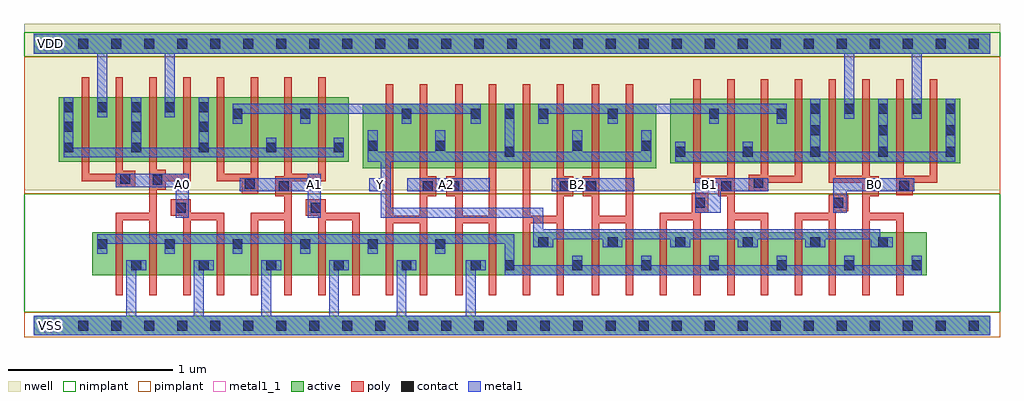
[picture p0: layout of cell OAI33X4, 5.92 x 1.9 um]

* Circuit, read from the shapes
.subckt OAI33X4 A0 A1 A2 B0 B1 B2 VDD VSS Y
M1 VSS A0 n1 VSS nfet w=0.26u l=0.045u m=4
M2 VSS A1 n1 VSS nfet w=0.26u l=0.045u m=4
M3 VSS A2 n1 VSS nfet w=0.26u l=0.045u m=4
M4 Y B2 n1 VSS nfet w=0.26u l=0.045u m=4
M5 Y B1 n1 VSS nfet w=0.26u l=0.045u m=4
M6 Y B0 n1 VSS nfet w=0.26u l=0.045u m=4
M7 VDD A0 n2 VDD pfet w=0.39u l=0.045u m=4
M8 n3 A1 n2 VDD pfet w=0.39u l=0.045u m=4
M9 n3 A2 Y VDD pfet w=0.39u l=0.045u m=4
M10 n4 B2 Y VDD pfet w=0.39u l=0.045u m=4
M11 n4 B1 n5 VDD pfet w=0.39u l=0.045u m=4
M12 VDD B0 n5 VDD pfet w=0.39u l=0.045u m=4
.ends

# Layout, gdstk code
import gdstk
lib = gdstk.Library(unit=1e-6, precision=5e-10)
def R(c, l, rs):  # rectangles x0, y0, x1, y1
    for r in rs: c.add(gdstk.rectangle(r[:2], r[2:], *l))
def A(c, l, x, y, w, h, nx, ny, dx, dy):  # array of equal rectangles
    R(c, l, [(x+i*dx, y+j*dy, x+i*dx+w, y+j*dy+h) for i in range(nx) for j in range(ny)])
def P(c, l, *ps):  # polygons
    for p in ps: c.add(gdstk.Polygon(p, *l))
active = (1, 0)
nwell = (2, 0)
poly = (3, 0)
nimplant = (4, 0)
pimplant = (5, 0)
contact = (6, 0)
metal1 = (7, 0)
metal1_1 = (7, 1)

oai33x4 = lib.new_cell('OAI33X4')
R(oai33x4, active, [(0,-0.06,5.8,0.06), (0.355,0.305,5.415,0.565), (1.995,0.955,3.775,1.345), (3.86,0.985,5.62,1.375), (0.15,0.995,1.91,1.385), (0,1.65,5.8,1.77)])
R(oai33x4, nwell, [(-0.06,0.82,5.86,1.83)])
P(oai33x4, poly, [(0.29,1.505),(0.335,1.505),(0.335,0.92),(0.495,0.92),(0.495,1.505),(0.54,1.505),(0.54,0.94),(0.615,0.94),(0.615,0.84),(0.495,0.84),(0.495,0.875),(0.29,0.875)],
  [(0.7,1.505),(0.745,1.505),(0.745,0.945),(0.8,0.945),(0.8,0.92),(0.905,0.92),(0.905,1.505),(0.95,1.505),(0.95,0.875),(0.8,0.875),(0.8,0.825),(0.745,0.825),(0.745,0.185),(0.7,0.185),(0.7,0.64),(0.54,0.64),(0.54,0.185),(0.495,0.185),(0.495,0.685),(0.7,0.685)],
  [(1.11,1.505),(1.155,1.505),(1.155,0.92),(1.315,0.92),(1.315,1.505),(1.36,1.505),(1.36,0.8),(1.26,0.8),(1.26,0.875),(1.11,0.875)],
  [(1.52,1.505),(1.565,1.505),(1.565,0.92),(1.725,0.92),(1.725,1.505),(1.77,1.505),(1.77,0.875),(1.565,0.875),(1.565,0.185),(1.52,0.185),(1.52,0.64),(1.36,0.64),(1.36,0.185),(1.315,0.185),(1.315,0.685),(1.52,0.685),(1.52,0.785),(1.465,0.785),(1.465,0.905),(1.52,0.905)],
  [(2.135,1.465),(2.18,1.465),(2.18,0.665),(2.34,0.665),(2.34,1.465),(2.385,1.465),(2.385,0.905),(2.44,0.905),(2.44,0.785),(2.385,0.785),(2.385,0.185),(2.34,0.185),(2.34,0.62),(2.18,0.62),(2.18,0.185),(2.135,0.185)],
  [(2.555,1.465),(2.6,1.465),(2.6,0.665),(2.76,0.665),(2.76,1.465),(2.805,1.465),(2.805,0.185),(2.76,0.185),(2.76,0.62),(2.6,0.62),(2.6,0.185),(2.555,0.185),(2.555,0.785),(2.5,0.785),(2.5,0.905),(2.555,0.905)],
  [(2.965,1.465),(3.01,1.465),(3.01,0.665),(3.17,0.665),(3.17,1.465),(3.215,1.465),(3.215,0.905),(3.27,0.905),(3.27,0.785),(3.215,0.785),(3.215,0.185),(3.17,0.185),(3.17,0.62),(3.01,0.62),(3.01,0.185),(2.965,0.185)],
  [(3.385,1.465),(3.43,1.465),(3.43,0.665),(3.59,0.665),(3.59,1.465),(3.635,1.465),(3.635,0.185),(3.59,0.185),(3.59,0.62),(3.43,0.62),(3.43,0.185),(3.385,0.185),(3.385,0.785),(3.33,0.785),(3.33,0.905),(3.385,0.905)],
  [(4,1.495),(4.045,1.495),(4.045,0.91),(4.205,0.91),(4.205,1.495),(4.25,1.495),(4.25,0.685),(4.455,0.685),(4.455,0.185),(4.41,0.185),(4.41,0.64),(4.25,0.64),(4.25,0.185),(4.205,0.185),(4.205,0.785),(4.15,0.785),(4.15,0.865),(4,0.865)],
  [(4.41,1.495),(4.455,1.495),(4.455,0.91),(4.615,0.91),(4.615,1.495),(4.66,1.495),(4.66,0.865),(4.455,0.865),(4.455,0.815),(4.335,0.815),(4.335,0.915),(4.41,0.915)],
  [(4.82,1.495),(4.865,1.495),(4.865,0.91),(5.025,0.91),(5.025,1.495),(5.07,1.495),(5.07,0.905),(5.125,0.905),(5.125,0.785),(5.07,0.785),(5.07,0.685),(5.275,0.685),(5.275,0.185),(5.23,0.185),(5.23,0.64),(5.07,0.64),(5.07,0.185),(5.025,0.185),(5.025,0.865),(4.82,0.865)],
  [(5.23,1.495),(5.275,1.495),(5.275,0.91),(5.435,0.91),(5.435,1.495),(5.48,1.495),(5.48,0.865),(5.33,0.865),(5.33,0.79),(5.23,0.79)],
  [(3.99,0.805),(4.09,0.805),(4.09,0.685),(4.045,0.685),(4.045,0.185),(4,0.185),(4,0.64),(3.84,0.64),(3.84,0.185),(3.795,0.185),(3.795,0.685),(3.99,0.685)],
  [(4.82,0.795),(4.94,0.795),(4.94,0.695),(4.865,0.695),(4.865,0.185),(4.82,0.185),(4.82,0.64),(4.66,0.64),(4.66,0.185),(4.615,0.185),(4.615,0.685),(4.82,0.685)],
  [(0.83,0.765),(0.95,0.765),(0.95,0.685),(1.155,0.685),(1.155,0.185),(1.11,0.185),(1.11,0.64),(0.95,0.64),(0.95,0.185),(0.905,0.185),(0.905,0.665),(0.83,0.665)],
  [(1.65,0.765),(1.77,0.765),(1.77,0.685),(1.975,0.685),(1.975,0.185),(1.93,0.185),(1.93,0.64),(1.77,0.64),(1.77,0.185),(1.725,0.185),(1.725,0.665),(1.65,0.665)])
R(oai33x4, nimplant, [(-0.06,0.08,5.86,0.8), (-0.06,1.63,5.86,1.78)])
R(oai33x4, pimplant, [(-0.06,-0.07,5.86,0.08), (-0.06,0.8,5.86,1.63)])
A(oai33x4, contact, 0.07, -0.03, 0.06, 0.06, 29, 2, 0.2, 1.71)
A(oai33x4, contact, 0.59, 0.335, 0.06, 0.06, 5, 1, 0.41, 0)
A(oai33x4, contact, 3.685, 0.335, 0.06, 0.06, 5, 1, 0.41, 0)
A(oai33x4, contact, 0.385, 0.465, 0.06, 0.06, 6, 1, 0.41, 0)
A(oai33x4, contact, 3.48, 0.475, 0.06, 0.06, 5, 1, 0.41, 0)
A(oai33x4, contact, 3.89, 1.025, 0.06, 0.06, 5, 1, 0.41, 0)
A(oai33x4, contact, 0.18, 1.05, 0.06, 0.06, 5, 1, 0.41, 0)
A(oai33x4, contact, 4.71, 1.155, 0.06, 0.06, 3, 1, 0.41, 0)
A(oai33x4, contact, 0.18, 1.175, 0.06, 0.06, 3, 1, 0.41, 0)
A(oai33x4, contact, 2.65, 1.255, 0.06, 0.06, 3, 1, 0.205, 0)
A(oai33x4, contact, 4.71, 1.285, 0.06, 0.06, 5, 1, 0.205, 0)
A(oai33x4, contact, 0.18, 1.295, 0.06, 0.06, 5, 1, 0.205, 0)
R(oai33x4, contact, [(2.65,0.335,2.71,0.395), (2.855,0.335,2.915,0.395), (3.265,0.335,3.325,0.395), (3.06,0.475,3.12,0.535), (0.86,0.685,0.92,0.745), (1.68,0.685,1.74,0.745), (4.01,0.715,4.07,0.775), (4.85,0.715,4.91,0.775), (1.485,0.815,1.545,0.875), (2.36,0.815,2.42,0.875), (2.52,0.815,2.58,0.875), (3.19,0.815,3.25,0.875), (3.35,0.815,3.41,0.875), (4.17,0.815,4.23,0.875), (5.045,0.815,5.105,0.875), (5.25,0.82,5.31,0.88), (1.28,0.83,1.34,0.89), (4.365,0.835,4.425,0.895), (0.72,0.855,0.78,0.915), (0.525,0.86,0.585,0.92), (2.855,1.025,2.915,1.085), (2.025,1.06,2.085,1.12), (2.435,1.06,2.495,1.12), (3.265,1.06,3.325,1.12), (3.685,1.06,3.745,1.12), (1.205,1.255,1.265,1.315), (1.615,1.255,1.675,1.315), (2.23,1.255,2.29,1.315), (3.48,1.255,3.54,1.315), (4.095,1.255,4.155,1.315), (4.505,1.255,4.565,1.315)])
R(oai33x4, metal1, [(2.265,0.815,2.765,0.895), (3.14,0.815,3.64,0.895)])
P(oai33x4, metal1, [(0,1.77),(5.8,1.77),(5.8,1.65),(5.385,1.65),(5.385,1.255),(5.325,1.255),(5.325,1.65),(4.975,1.65),(4.975,1.255),(4.915,1.255),(4.915,1.65),(0.855,1.65),(0.855,1.265),(0.795,1.265),(0.795,1.65),(0.445,1.65),(0.445,1.265),(0.385,1.265),(0.385,1.65),(0,1.65)],
  [(0.18,1.385),(0.24,1.385),(0.24,1.08),(0.59,1.08),(0.59,1.385),(0.65,1.385),(0.65,1.08),(1,1.08),(1,1.385),(1.06,1.385),(1.06,1.08),(1.41,1.08),(1.41,1.14),(1.47,1.14),(1.47,1.08),(1.82,1.08),(1.82,1.14),(1.88,1.14),(1.88,1.02),(0.18,1.02)],
  [(1.205,1.345),(2.71,1.345),(2.71,1.225),(2.65,1.225),(2.65,1.285),(2.29,1.285),(2.29,1.225),(2.23,1.225),(2.23,1.285),(1.675,1.285),(1.675,1.225),(1.615,1.225),(1.615,1.285),(1.265,1.285),(1.265,1.225),(1.205,1.225)],
  [(2.025,1.185),(2.085,1.185),(2.085,1.055),(2.435,1.055),(2.435,1.185),(2.495,1.185),(2.495,1.055),(2.855,1.055),(2.855,1.345),(2.915,1.345),(2.915,1.055),(3.265,1.055),(3.265,1.185),(3.325,1.185),(3.325,1.055),(3.685,1.055),(3.685,1.185),(3.745,1.185),(3.745,0.995),(2.165,0.995),(2.165,0.715),(3.09,0.715),(3.09,0.585),(5.135,0.585),(5.135,0.535),(5.21,0.535),(5.21,0.475),(5.075,0.475),(5.075,0.525),(4.8,0.525),(4.8,0.475),(4.68,0.475),(4.68,0.525),(4.39,0.525),(4.39,0.475),(4.27,0.475),(4.27,0.525),(3.98,0.525),(3.98,0.475),(3.86,0.475),(3.86,0.525),(3.57,0.525),(3.57,0.475),(3.45,0.475),(3.45,0.525),(3.15,0.525),(3.15,0.475),(3.03,0.475),(3.03,0.655),(2.105,0.655),(2.105,0.815),(2.035,0.815),(2.035,0.895),(2.105,0.895),(2.105,0.995),(2.025,0.995)],
  [(3.06,1.345),(4.565,1.345),(4.565,1.225),(4.505,1.225),(4.505,1.285),(4.155,1.285),(4.155,1.225),(4.095,1.225),(4.095,1.285),(3.54,1.285),(3.54,1.225),(3.48,1.225),(3.48,1.285),(3.12,1.285),(3.12,1.225),(3.06,1.225)],
  [(3.89,1.115),(3.95,1.115),(3.95,1.055),(4.3,1.055),(4.3,1.115),(4.36,1.115),(4.36,1.055),(4.71,1.055),(4.71,1.375),(4.77,1.375),(4.77,1.055),(5.12,1.055),(5.12,1.375),(5.18,1.375),(5.18,1.055),(5.53,1.055),(5.53,1.375),(5.59,1.375),(5.59,0.995),(3.89,0.995)],
  [(0.495,0.92),(0.94,0.92),(0.94,0.655),(0.86,0.655),(0.86,0.84),(0.495,0.84)],
  [(1.66,0.92),(1.74,0.92),(1.74,0.655),(1.66,0.655),(1.66,0.815),(1.25,0.815),(1.25,0.895),(1.66,0.895)],
  [(4.01,0.895),(4.455,0.895),(4.455,0.815),(4.165,0.815),(4.165,0.685),(4.01,0.685)],
  [(4.85,0.895),(5.34,0.895),(5.34,0.815),(4.93,0.815),(4.93,0.685),(4.85,0.685)],
  [(0.385,0.555),(2.915,0.555),(2.915,0.365),(3.265,0.365),(3.265,0.425),(3.325,0.425),(3.325,0.365),(3.685,0.365),(3.685,0.425),(3.745,0.425),(3.745,0.365),(4.095,0.365),(4.095,0.425),(4.155,0.425),(4.155,0.365),(4.505,0.365),(4.505,0.425),(4.565,0.425),(4.565,0.365),(4.915,0.365),(4.915,0.425),(4.975,0.425),(4.975,0.365),(5.325,0.365),(5.325,0.425),(5.385,0.425),(5.385,0.305),(2.855,0.305),(2.855,0.495),(2.495,0.495),(2.495,0.435),(2.435,0.435),(2.435,0.495),(2.085,0.495),(2.085,0.435),(2.025,0.435),(2.025,0.495),(1.675,0.495),(1.675,0.435),(1.615,0.435),(1.615,0.495),(1.265,0.495),(1.265,0.435),(1.205,0.435),(1.205,0.495),(0.855,0.495),(0.855,0.435),(0.795,0.435),(0.795,0.495),(0.445,0.495),(0.445,0.435),(0.385,0.435)],
  [(0.56,0.395),(0.68,0.395),(0.68,0.335),(0.62,0.335),(0.62,0.06),(0.97,0.06),(0.97,0.395),(1.09,0.395),(1.09,0.335),(1.03,0.335),(1.03,0.06),(1.38,0.06),(1.38,0.395),(1.5,0.395),(1.5,0.335),(1.44,0.335),(1.44,0.06),(1.79,0.06),(1.79,0.395),(1.91,0.395),(1.91,0.335),(1.85,0.335),(1.85,0.06),(2.2,0.06),(2.2,0.395),(2.32,0.395),(2.32,0.335),(2.26,0.335),(2.26,0.06),(2.62,0.06),(2.62,0.395),(2.74,0.395),(2.74,0.335),(2.68,0.335),(2.68,0.06),(5.8,0.06),(5.8,-0.06),(0,-0.06),(0,0.06),(0.56,0.06)])
A(oai33x4, metal1_1, 1.66, 0.815, 0.08, 0.08, 3, 1, 0.4, 0)
R(oai33x4, metal1_1, [(0.06,-0.04,0.14,0.04), (0.86,0.815,0.94,0.895), (3.26,0.815,3.34,0.895), (4.06,0.815,4.14,0.895), (5.06,0.815,5.14,0.895), (0.06,1.67,0.14,1.75)])
oai33x4.add(gdstk.Label('Y', (2.1,0.855), layer=7, texttype=1))
oai33x4.add(gdstk.Label('B0', (5.1,0.855), layer=7, texttype=1))
oai33x4.add(gdstk.Label('B2', (3.3,0.855), layer=7, texttype=1))
oai33x4.add(gdstk.Label('A1', (1.7,0.855), layer=7, texttype=1))
oai33x4.add(gdstk.Label('A2', (2.5,0.855), layer=7, texttype=1))
oai33x4.add(gdstk.Label('A0', (0.9,0.855), layer=7, texttype=1))
oai33x4.add(gdstk.Label('B1', (4.1,0.855), layer=7, texttype=1))
oai33x4.add(gdstk.Label('VDD', (0.1,1.71), layer=7, texttype=1))
oai33x4.add(gdstk.Label('VSS', (0.1,0), layer=7, texttype=1))
oai33x4.add(gdstk.Label('OAI33X4', (0,0), layer=63, texttype=0))

lib.write_gds('OAI33X4.gds')
